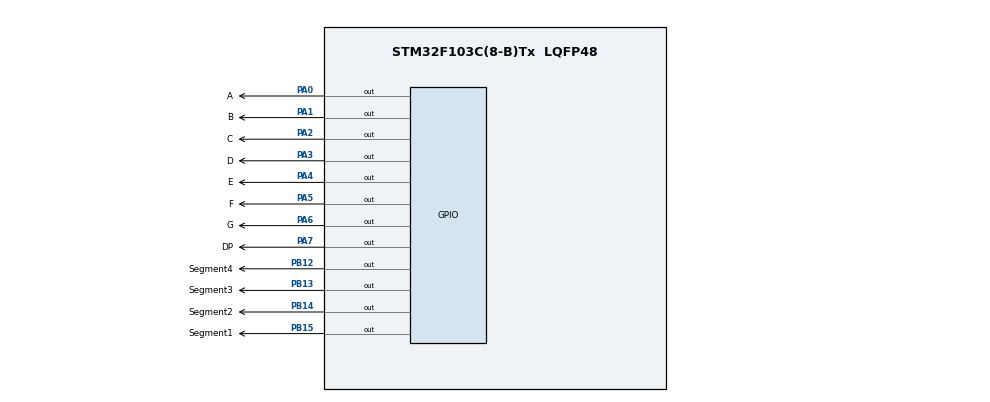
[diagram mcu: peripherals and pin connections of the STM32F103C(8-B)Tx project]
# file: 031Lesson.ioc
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Mcu.Family=STM32F1
Mcu.Name=STM32F103C(8-B)Tx
Mcu.Package=LQFP48
NVIC.PriorityGroup=NVIC_PRIORITYGROUP_4
PA0-WKUP.GPIO_Label=A
PA0-WKUP.Signal=GPIO_Output
PA1.GPIO_Label=B
PA1.Signal=GPIO_Output
PA13.Mode=Serial_Wire
PA13.Signal=SYS_JTMS-SWDIO
PA14.Mode=Serial_Wire
PA14.Signal=SYS_JTCK-SWCLK
PA2.GPIO_Label=C
PA2.Signal=GPIO_Output
PA3.GPIO_Label=D
PA3.Signal=GPIO_Output
PA4.GPIO_Label=E
PA4.Signal=GPIO_Output
PA5.GPIO_Label=F
PA5.Signal=GPIO_Output
PA6.GPIO_Label=G
PA6.Signal=GPIO_Output
PA7.GPIO_Label=DP
PA7.Signal=GPIO_Output
PB12.GPIO_Label=Segment4
PB12.Signal=GPIO_Output
PB13.GPIO_Label=Segment3
PB13.Signal=GPIO_Output
PB14.GPIO_Label=Segment2
PB14.Signal=GPIO_Output
PB15.GPIO_Label=Segment1
PB15.Signal=GPIO_Output
ProjectManager.HeapSize=0x200
ProjectManager.StackSize=0x400
ProjectManager.TargetToolchain=Other Toolchains (GPDSC)
RCC.APB1Freq_Value=8000000
RCC.APB2Freq_Value=8000000
board=custom

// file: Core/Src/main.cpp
/* USER CODE BEGIN Header */
/**
  ******************************************************************************
  * @file           : main.c
  * @brief          : Main program body
  ******************************************************************************
  * @attention
  *
  * <h2><center>&copy; Copyright (c) 2020 STMicroelectronics.
  * All rights reserved.</center></h2>
  *
  * This software component is licensed by ST under BSD 3-Clause license,
  * the "License"; You may not use this file except in compliance with the
  * License. You may obtain a copy of the License at:
  *                        opensource.org/licenses/BSD-3-Clause
  *
  ******************************************************************************
  */
/* USER CODE END Header */
#include "main.h"

/* USER CODE BEGIN Includes */
#include "DigitLed.h"
/* USER CODE END Includes */

void SystemClock_Config(void);
static void MX_GPIO_Init(void);

int main(void)
{

  /* MCU Configuration--------------------------------------------------------*/

  /* Reset of all peripherals, Initializes the Flash interface and the Systick. */
  HAL_Init();

  /* Configure the system clock */
  SystemClock_Config();

  /* Initialize all configured peripherals */
  MX_GPIO_Init();
  /* USER CODE BEGIN 2 */
	DigitLed Display(A_GPIO_Port, A_Pin,
		B_GPIO_Port, B_Pin,
		C_GPIO_Port, C_Pin,
		D_GPIO_Port, D_Pin,
		E_GPIO_Port, E_Pin,
		F_GPIO_Port, F_Pin,
		G_GPIO_Port, G_Pin,
		DP_GPIO_Port, DP_Pin,
		Segment1_GPIO_Port, Segment1_Pin,
		Segment2_GPIO_Port, Segment2_Pin,
		Segment3_GPIO_Port, Segment3_Pin,
		Segment4_GPIO_Port, Segment4_Pin);
  /* USER CODE END 2 */

  /* Infinite loop */
  /* USER CODE BEGIN WHILE */
  while (1)
  {
	  for (uint16_t i = 0; i < 9999; i++)
	  {
		  for (uint16_t j = 0; j < 300; j++)
		  {
			  Display.print(i);
		  }
	  }
    /* USER CODE END WHILE */

  }
}

void SystemClock_Config(void)
{
  RCC_OscInitTypeDef RCC_OscInitStruct = {0};
  RCC_ClkInitTypeDef RCC_ClkInitStruct = {0};

  /** Initializes the RCC Oscillators according to the specified parameters
  * in the RCC_OscInitTypeDef structure.
  */
  RCC_OscInitStruct.OscillatorType = RCC_OSCILLATORTYPE_HSI;
  RCC_OscInitStruct.HSIState = RCC_HSI_ON;
  RCC_OscInitStruct.HSICalibrationValue = RCC_HSICALIBRATION_DEFAULT;
  RCC_OscInitStruct.PLL.PLLState = RCC_PLL_NONE;
  if (HAL_RCC_OscConfig(&RCC_OscInitStruct) != HAL_OK)
  {
    Error_Handler();
  }
  /** Initializes the CPU, AHB and APB buses clocks
  */
  RCC_ClkInitStruct.ClockType = RCC_CLOCKTYPE_HCLK|RCC_CLOCKTYPE_SYSCLK
                              |RCC_CLOCKTYPE_PCLK1|RCC_CLOCKTYPE_PCLK2;
  RCC_ClkInitStruct.SYSCLKSource = RCC_SYSCLKSOURCE_HSI;
  RCC_ClkInitStruct.AHBCLKDivider = RCC_SYSCLK_DIV1;
  RCC_ClkInitStruct.APB1CLKDivider = RCC_HCLK_DIV1;
  RCC_ClkInitStruct.APB2CLKDivider = RCC_HCLK_DIV1;

  if (HAL_RCC_ClockConfig(&RCC_ClkInitStruct, FLASH_LATENCY_0) != HAL_OK)
  {
    Error_Handler();
  }
}

static void MX_GPIO_Init(void)
{
  GPIO_InitTypeDef GPIO_InitStruct = {0};

  /* GPIO Ports Clock Enable */
  __HAL_RCC_GPIOA_CLK_ENABLE();
  __HAL_RCC_GPIOB_CLK_ENABLE();

  /*Configure GPIO pin Output Level */
  HAL_GPIO_WritePin(GPIOA, A_Pin|B_Pin|C_Pin|D_Pin
                          |E_Pin|F_Pin|G_Pin|DP_Pin, GPIO_PIN_RESET);

  /*Configure GPIO pin Output Level */
  HAL_GPIO_WritePin(GPIOB, Segment4_Pin|Segment3_Pin|Segment2_Pin|Segment1_Pin, GPIO_PIN_RESET);

  /*Configure GPIO pins : A_Pin B_Pin C_Pin D_Pin
                           E_Pin F_Pin G_Pin DP_Pin */
  GPIO_InitStruct.Pin = A_Pin|B_Pin|C_Pin|D_Pin
                          |E_Pin|F_Pin|G_Pin|DP_Pin;
  GPIO_InitStruct.Mode = GPIO_MODE_OUTPUT_PP;
  GPIO_InitStruct.Pull = GPIO_NOPULL;
  GPIO_InitStruct.Speed = GPIO_SPEED_FREQ_LOW;
  HAL_GPIO_Init(GPIOA, &GPIO_InitStruct);

  /*Configure GPIO pins : Segment4_Pin Segment3_Pin Segment2_Pin Segment1_Pin */
  GPIO_InitStruct.Pin = Segment4_Pin|Segment3_Pin|Segment2_Pin|Segment1_Pin;
  GPIO_InitStruct.Mode = GPIO_MODE_OUTPUT_PP;
  GPIO_InitStruct.Pull = GPIO_NOPULL;
  GPIO_InitStruct.Speed = GPIO_SPEED_FREQ_LOW;
  HAL_GPIO_Init(GPIOB, &GPIO_InitStruct);

}

void Error_Handler(void)
{
}

/************************ (C) COPYRIGHT STMicroelectronics *****END OF FILE****/
